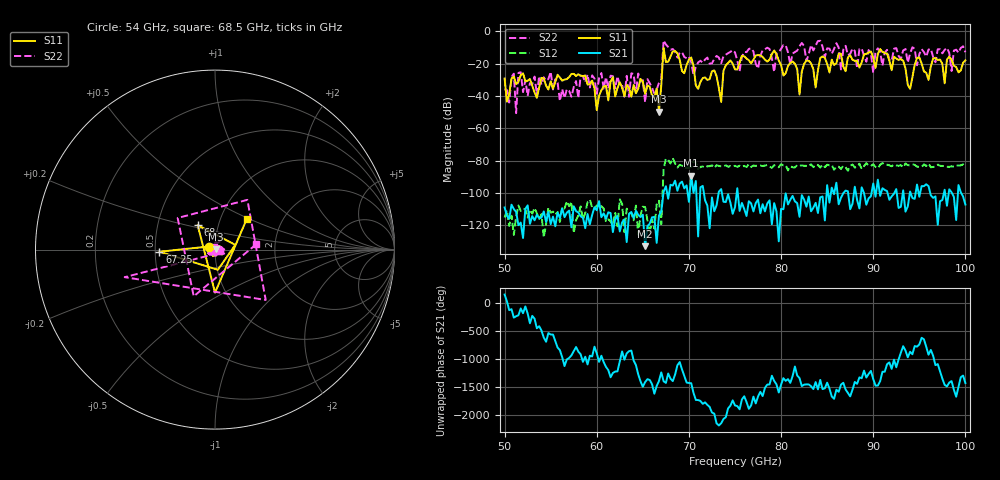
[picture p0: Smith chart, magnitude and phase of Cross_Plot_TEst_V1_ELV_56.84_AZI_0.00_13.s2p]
! 11/25/2026 1:22:25 PM
! C:\ANRITSUVNA\TEMP\TEMP.S2P
! CHANNEL.1
! TR.MEASUREMENT
! RAW.DATA
# HZ S RI R 50.0
! FREQ.HZ  S11RE  S11IM  S21RE  S21IM  S12RE  S12IM  S22RE  S22IM
!; PortSelection: Port_12
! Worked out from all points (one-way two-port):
!   201 points, 50 GHz to 100 GHz, reference 50 ohm
!   highest |S21| = -89.39 dB at 70.25 GHz (marker M1); lowest = -133.0 dB at 65.25 GHz (marker M2)
!   lowest |S11| = -49.7 dB at 66.75 GHz (marker M3), VSWR 1.01, Z = 50.3 + j0.0711 ohm
!   |S11| at or under -10 dB: start of sweep to end of sweep
!   |S22| runs from -50.6 to -5.6 dB; largest |S21 - S12| = 0.00011
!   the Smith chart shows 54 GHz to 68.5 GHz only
!   S11 on the Smith chart (normalised r, x): 54 GHz: 0.93, +0.03; 67.25 GHz: 0.53, -0.01; 68 GHz: 0.80, +0.22; 68.5 GHz: 1.33, +0.49
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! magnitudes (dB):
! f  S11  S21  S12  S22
! 50 GHz  -29.1  -109.0  -115.3  -35.8
! 51 GHz  -27.9  -110.0  -126.0  -26.2
! 51.25 GHz  -32.6  -111.8  -114.9  -50.6
! 51.5 GHz  -31.2  -120.0  -107.8  -25.7
! 54 GHz  -28.7  -115.4  -113.2  -32.9
! 58.5 GHz  -27.6  -115.4  -116.6  -27.7
! 60 GHz  -48.8  -110.8  -107.7  -38.6
! 64.5 GHz  -35.4  -113.6  -125.9  -26.0
! 65.25 GHz  -38.7  -133.0  -108.8  -43.9
! 66.75 GHz  -49.7  -114.1  -104.9  -31.9
! 67.25 GHz  -10.2  -99.4  -85.4  -5.6
! 68 GHz  -15.5  -95.0  -81.8  -11.3
! 68.5 GHz  -12.1  -92.5  -81.9  -12.7
! 70.25 GHz  -16.1  -89.4  -83.9  -19.1
! 73.5 GHz  -43.7  -97.7  -83.5  -19.7
! 73.75 GHz  -24.3  -105.5  -83.6  -15.4
! 75 GHz  -23.5  -108.9  -83.2  -13.0
! 83.5 GHz  -23.4  -109.2  -84.1  -11.8
! 91.75 GHz  -18.2  -104.3  -82.9  -17.6
! 94 GHz  -35.6  -99.2  -82.9  -13.7
! 94.75 GHz  -16.4  -94.8  -83.8  -20.9
! 100 GHz  -17.9  -107.2  -84.3  -12.9
